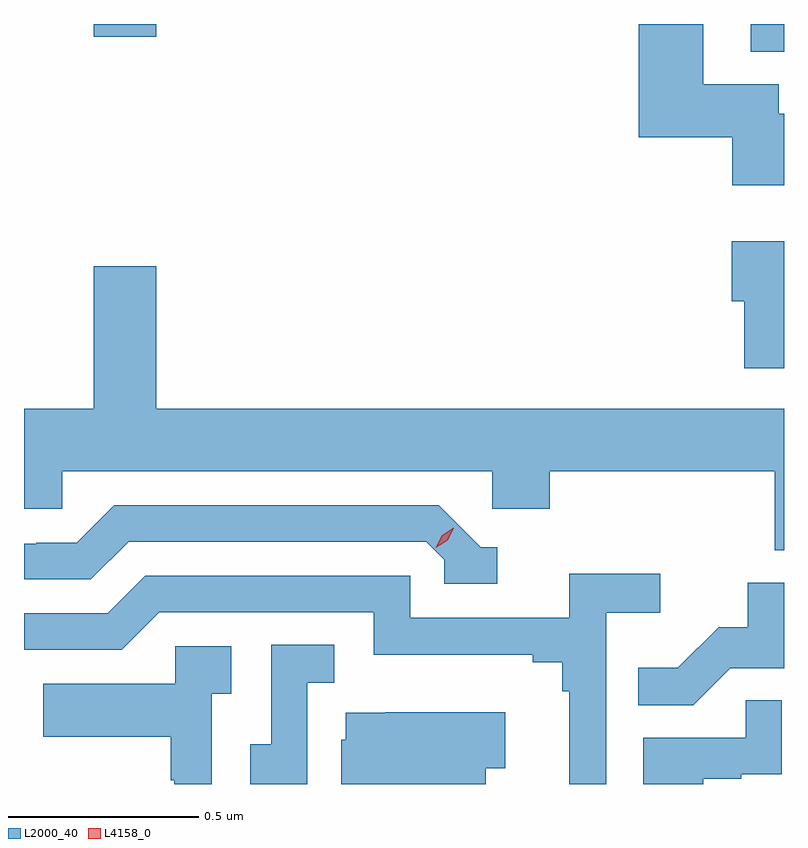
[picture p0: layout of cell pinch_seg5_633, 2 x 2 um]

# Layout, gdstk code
import gdstk
lib = gdstk.Library(unit=1e-6, precision=1e-09)
def R(c, l, rs):  # rectangles x0, y0, x1, y1
    for r in rs: c.add(gdstk.rectangle(r[:2], r[2:], *l))
def P(c, l, *ps):  # polygons
    for p in ps: c.add(gdstk.Polygon(p, *l))
L2000_40 = (2000, 40)
L4158_0 = (4158, 0)

pinch_seg5_633 = lib.new_cell('pinch_seg5_633')
R(pinch_seg5_633, L2000_40, [(1029.873,872.516,1029.96,872.589), (1028.144,872.556,1028.308,872.589)])
P(pinch_seg5_633, L2000_40, [(1029.96,872.353),(1029.946,872.353),(1029.946,872.431),(1029.748,872.431),(1029.748,872.589),(1029.578,872.589),(1029.578,872.291),(1029.824,872.291),(1029.824,872.165),(1029.96,872.165)],
  [(1029.96,872.017),(1029.822,872.017),(1029.822,871.859),(1029.856,871.859),(1029.856,871.683),(1029.96,871.683)],
  [(1029.96,871.576),(1028.308,871.576),(1028.308,871.951),(1028.144,871.951),(1028.144,871.576),(1027.96,871.576),(1027.96,871.314),(1028.061,871.314),(1028.061,871.412),(1029.192,871.412),(1029.192,871.314),(1029.344,871.314),(1029.344,871.412),(1029.935,871.412),(1029.935,871.204),(1029.96,871.204)],
  [(1029.205,871.212),(1029.162,871.212),(1029.051,871.323),(1028.198,871.323),(1028.099,871.224),(1027.992,871.224),(1027.992,871.221),(1027.96,871.221),(1027.96,871.128),(1028.136,871.128),(1028.235,871.227),(1029.018,871.227),(1029.066,871.179),(1029.066,871.116),(1029.205,871.116)],
  [(1029.492,871.04),(1029.634,871.04),(1029.634,871.142),(1029.395,871.142),(1029.395,871.026),(1028.976,871.026),(1028.976,871.137),(1028.279,871.137),(1028.18,871.038),(1027.96,871.038),(1027.96,870.942),(1028.217,870.942),(1028.316,871.041),(1028.88,871.041),(1028.88,870.929),(1029.299,870.929),(1029.299,870.91),(1029.376,870.91),(1029.376,870.833),(1029.395,870.833),(1029.395,870.589),(1029.492,870.589)],
  [(1029.819,870.894),(1029.96,870.894),(1029.96,871.119),(1029.865,871.119),(1029.865,871.002),(1029.788,871.002),(1029.681,870.895),(1029.577,870.895),(1029.577,870.796),(1029.721,870.796)],
  [(1028.706,870.855),(1028.776,870.855),(1028.776,870.956),(1028.61,870.956),(1028.61,870.693),(1028.555,870.693),(1028.555,870.589),(1028.706,870.589)],
  [(1028.454,870.827),(1028.506,870.827),(1028.506,870.951),(1028.358,870.951),(1028.358,870.853),(1028.011,870.853),(1028.011,870.713),(1028.346,870.713),(1028.346,870.599),(1028.356,870.599),(1028.356,870.589),(1028.454,870.589)],
  [(1029.748,870.603),(1029.848,870.603),(1029.848,870.615),(1029.954,870.615),(1029.954,870.809),(1029.859,870.809),(1029.859,870.711),(1029.59,870.711),(1029.59,870.589),(1029.748,870.589)],
  [(1029.175,870.631),(1029.226,870.631),(1029.226,870.778),(1028.911,870.778),(1028.911,870.777),(1028.807,870.777),(1028.807,870.705),(1028.795,870.705),(1028.795,870.589),(1029.175,870.589)])
P(pinch_seg5_633, L4158_0, [(1029.044,871.211),(1029.044,871.211),(1029.06,871.244),(1029.091,871.263),(1029.091,871.263),(1029.091,871.263),(1029.075,871.23),(1029.044,871.211)])

lib.write_gds('pinch_seg5_633.gds')
